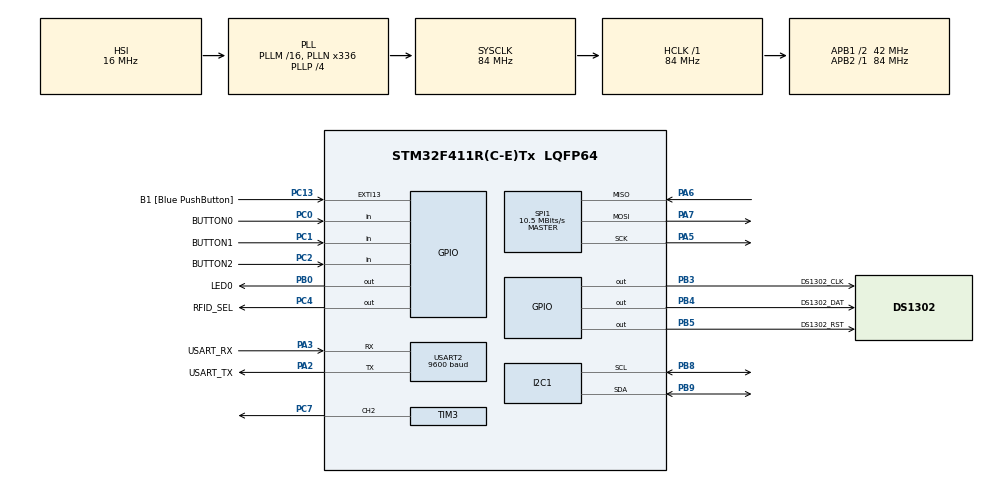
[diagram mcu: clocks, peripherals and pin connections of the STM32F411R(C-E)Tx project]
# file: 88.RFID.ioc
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FREERTOS.Mutexes01=mutex_lcd,Dynamic,NULL
FREERTOS.Tasks01=defaultTask,24,128,StartDefaultTask,Default,NULL,Dynamic,NULL,NULL;RFIDTask,8,128,rfid_processing,Default,NULL,Dynamic,NULL,NULL;ServoMotorTask,8,128,ctrl_servomotor,Default,NULL,Dynamic,NULL,NULL;DS1302Task,8,128,ctrl_DS1302,Default,NULL,Dynamic,NULL,NULL
FREERTOS.configUSE_NEWLIB_REENTRANT=1
Mcu.Family=STM32F4
Mcu.Name=STM32F411R(C-E)Tx
Mcu.Package=LQFP64
NVIC.PriorityGroup=NVIC_PRIORITYGROUP_4
NVIC.SPI1_IRQn=true\:5\:0\:false\:false\:true\:true\:true\:true
NVIC.TIM1_UP_TIM10_IRQn=true\:5\:0\:false\:false\:true\:false\:false\:true
NVIC.TIM2_IRQn=true\:5\:0\:false\:false\:true\:true\:true\:true
NVIC.TIM3_IRQn=true\:5\:0\:false\:false\:true\:true\:true\:true
NVIC.TimeBase=TIM1_UP_TIM10_IRQn
NVIC.TimeBaseIP=TIM10
NVIC.USART2_IRQn=true\:5\:0\:false\:false\:true\:true\:true\:true
PA13.GPIO_Label=TMS
PA13.Mode=Serial_Wire
PA13.Signal=SYS_JTMS-SWDIO
PA14.GPIO_Label=TCK
PA14.Mode=Serial_Wire
PA14.Signal=SYS_JTCK-SWCLK
PA2.GPIO_Label=USART_TX
PA2.Mode=Asynchronous
PA2.Signal=USART2_TX
PA3.GPIO_Label=USART_RX
PA3.Mode=Asynchronous
PA3.Signal=USART2_RX
PA5.Mode=Full_Duplex_Master
PA5.Signal=SPI1_SCK
PA6.Mode=Full_Duplex_Master
PA6.Signal=SPI1_MISO
PA7.Mode=Full_Duplex_Master
PA7.Signal=SPI1_MOSI
PB0.GPIO_Label=LED0
PB0.Signal=GPIO_Output
PB3.GPIO_Label=DS1302_CLK
PB3.Signal=GPIO_Output
PB4.GPIO_Label=DS1302_DAT
PB4.Signal=GPIO_Output
PB5.GPIO_Label=DS1302_RST
PB5.Signal=GPIO_Output
PB8.Mode=I2C
PB8.Signal=I2C1_SCL
PB9.Mode=I2C
PB9.Signal=I2C1_SDA
PC0.GPIO_Label=BUTTON0
PC0.Signal=GPIO_Input
PC1.GPIO_Label=BUTTON1
PC1.Signal=GPIO_Input
PC13-ANTI_TAMP.GPIO_Label=B1 [Blue PushButton]
PC13-ANTI_TAMP.GPIO_ModeDefaultEXTI=GPIO_MODE_IT_FALLING
PC13-ANTI_TAMP.Signal=GPXTI13
PC14-OSC32_IN.Mode=LSE-External-Oscillator
PC14-OSC32_IN.Signal=RCC_OSC32_IN
PC15-OSC32_OUT.Mode=LSE-External-Oscillator
PC15-OSC32_OUT.Signal=RCC_OSC32_OUT
PC2.GPIO_Label=BUTTON2
PC2.Signal=GPIO_Input
PC4.GPIO_Label=RFID_SEL
PC4.Signal=GPIO_Output
PC7.Signal=S_TIM3_CH2
PH0\ -\ OSC_IN.Mode=HSE-External-Clock-Source
PH0\ -\ OSC_IN.Signal=RCC_OSC_IN
PH1\ -\ OSC_OUT.Mode=HSE-External-Clock-Source
PH1\ -\ OSC_OUT.Signal=RCC_OSC_OUT
ProjectManager.HeapSize=0x200
ProjectManager.StackSize=0x400
ProjectManager.TargetToolchain=STM32CubeIDE
RCC.48MHZClocksFreq_Value=84000000
RCC.AHBFreq_Value=84000000
RCC.APB1CLKDivider=RCC_HCLK_DIV2
RCC.APB1Freq_Value=42000000
RCC.APB1TimFreq_Value=84000000
RCC.APB2Freq_Value=84000000
RCC.APB2TimFreq_Value=84000000
RCC.CortexFreq_Value=84000000
RCC.FLatency-AdvancedSettings=FLASH_LATENCY_2
RCC.HCLKFreq_Value=84000000
RCC.HSE_VALUE=8000000
RCC.HSI_VALUE=16000000
RCC.PLLN=336
RCC.PLLP=RCC_PLLP_DIV4
RCC.SYSCLKFreq_VALUE=84000000
RCC.SYSCLKSource=RCC_SYSCLKSOURCE_PLLCLK
RCC.VCOOutputFreq_Value=336000000
SH.S_TIM3_CH2.0=TIM3_CH2,PWM Generation2 CH2
SPI1.BaudRatePrescaler=SPI_BAUDRATEPRESCALER_8
SPI1.CalculateBaudRate=10.5 MBits/s
SPI1.Direction=SPI_DIRECTION_2LINES
SPI1.Mode=SPI_MODE_MASTER
SPI1.VirtualType=VM_MASTER
TIM11.Period=65535
TIM11.Prescaler=84-1
TIM2.Period=1000-1
TIM2.Prescaler=84-1
TIM3.Channel-PWM\ Generation2\ CH2=TIM_CHANNEL_2
TIM3.Period=1000-1
TIM3.Prescaler=1680-1
USART2.BaudRate=9600
USART2.VirtualMode=VM_ASYNC
VP_FREERTOS_VS_CMSIS_V2.Mode=CMSIS_V2
VP_SYS_VS_tim10.Mode=TIM10
VP_TIM11_VS_ClockSourceINT.Mode=Enable_Timer
VP_TIM2_VS_ClockSourceINT.Mode=Internal
VP_TIM3_VS_ClockSourceINT.Mode=Internal
board=NUCLEO-F411RE

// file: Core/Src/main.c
/* USER CODE BEGIN Header */
/**
  ******************************************************************************
  * @file           : main.c
  * @brief          : Main program body
  ******************************************************************************
  * @attention
  *
  * <h2><center>&copy; Copyright (c) 2024 STMicroelectronics.
  * All rights reserved.</center></h2>
  *
  * This software component is licensed by ST under BSD 3-Clause license,
  * the "License"; You may not use this file except in compliance with the
  * License. You may obtain a copy of the License at:
  *                        opensource.org/licenses/BSD-3-Clause
  *
  ******************************************************************************
  */
/* USER CODE END Header */
#include "main.h"
#include "cmsis_os.h"

/* USER CODE BEGIN Includes */
#include "servomotor.h"
#include "DS1302.h"
#include "uart2.h"
/* USER CODE END Includes */

I2C_HandleTypeDef hi2c1;

SPI_HandleTypeDef hspi1;

TIM_HandleTypeDef htim2;
TIM_HandleTypeDef htim3;
TIM_HandleTypeDef htim11;

UART_HandleTypeDef huart2;

/* Definitions for defaultTask */
osThreadId_t defaultTaskHandle;
const osThreadAttr_t defaultTask_attributes = {
  .name = "defaultTask",
  .stack_size = 128 * 4,
  .priority = (osPriority_t) osPriorityNormal,
};
/* Definitions for RFIDTask */
osThreadId_t RFIDTaskHandle;
const osThreadAttr_t RFIDTask_attributes = {
  .name = "RFIDTask",
  .stack_size = 128 * 4,
  .priority = (osPriority_t) osPriorityLow,
};
/* Definitions for ServoMotorTask */
osThreadId_t ServoMotorTaskHandle;
const osThreadAttr_t ServoMotorTask_attributes = {
  .name = "ServoMotorTask",
  .stack_size = 128 * 4,
  .priority = (osPriority_t) osPriorityLow,
};
/* Definitions for DS1302Task */
osThreadId_t DS1302TaskHandle;
const osThreadAttr_t DS1302Task_attributes = {
  .name = "DS1302Task",
  .stack_size = 128 * 4,
  .priority = (osPriority_t) osPriorityLow,
};
/* Definitions for mutex_lcd */
osMutexId_t mutex_lcdHandle;
const osMutexAttr_t mutex_lcd_attributes = {
  .name = "mutex_lcd"
};
/* USER CODE BEGIN PV */
uint8_t rx_data;

volatile int TIM2_1ms_counter=0;
volatile int TIM2_1ms_RFID_LED=0;
volatile int TIM2_300ms_taggingProcess=0;
volatile int TIM2_300ms_counter=0;
volatile int TIM2_opentime_servo_1ms=0;
volatile int TIM2_off_servo_1ms=0;
/* USER CODE END PV */

void SystemClock_Config(void);
static void MX_GPIO_Init(void);
static void MX_USART2_UART_Init(void);
static void MX_TIM11_Init(void);
static void MX_TIM2_Init(void);
static void MX_SPI1_Init(void);
static void MX_TIM3_Init(void);
static void MX_I2C1_Init(void);
void StartDefaultTask(void *argument);
void rfid_processing(void *argument);
void ctrl_servomotor(void *argument);
void ctrl_DS1302(void *argument);

/* USER CODE BEGIN PFP */
extern void led_all_on(void);
extern void led_all_off(void);
extern void led2_toggle(void);
extern void led_on_up();
extern void led_on_down();
extern void ledbar0_toggle(void);
extern void ledbar1_toggle(void);
extern void ledbar2_toggle(void);
extern void led_main(void);
extern void button0_check(void);
extern void delay_us(unsigned int us);
extern void rfid_reader_init(void);
extern void rfid_tag_processing(void);
extern DS1302 stTime;
/* USER CODE END PFP */

/* USER CODE BEGIN 0 */
//-- call by SysTick_Handler of stm32f4xx_it.c
// SysTick_Handler : ARM core default timer
volatile int t1ms_counter=0;

void HAL_SYSTICK_Handler()
{
	t1ms_counter++;   // 1ms timer counter
}
//------------ printf start -----------------------
#ifdef __GNUC__    // Add for printf
/* With GCC, small printf (option LD Linker->Libraries->Small printf
   set to 'Yes') calls __io_putchar() */
#define PUTCHAR_PROTOTYPE int __io_putchar(int ch)
#else
#define PUTCHAR_PROTOTYPE int fputc(int ch, FILE *f)
#endif /* __GNUC__ */
/**
  * @brief  Retargets the C library printf function to the USART.
  * @param  None
  * @retval None
  */
PUTCHAR_PROTOTYPE   // Add for printf
{
  /* Place your implementation of fputc here */
  /* e.g. write a character to the USART2 and Loop until the end of transmission */
  HAL_UART_Transmit(&huart2, (uint8_t *)&ch, 1, 0xFFFF);

  return ch;
}
//-------------------- printf end --------------------
/* USER CODE END 0 */

int main(void)
{

  /* MCU Configuration--------------------------------------------------------*/

  /* Reset of all peripherals, Initializes the Flash interface and the Systick. */
  HAL_Init();

  /* Configure the system clock */
  SystemClock_Config();

  /* Initialize all configured peripherals */
  MX_GPIO_Init();
  MX_USART2_UART_Init();
  MX_TIM11_Init();
  MX_TIM2_Init();
  MX_SPI1_Init();
  MX_TIM3_Init();
  MX_I2C1_Init();
  /* USER CODE BEGIN 2 */
  HAL_UART_Receive_IT(&huart2, &rx_data, 1);   // assign RX INT
  HAL_TIM_Base_Start_IT(&htim2);  // ADD_SIKWON_0523
  HAL_TIM_Base_Start_IT(&htim11);  // ADD_SIKWON_0523
  rfid_reader_init();
  i2c_lcd_init();
  /* USER CODE END 2 */

  /* Init scheduler */
  osKernelInitialize();
  /* Create the mutex(es) */
  /* creation of mutex_lcd */
  mutex_lcdHandle = osMutexNew(&mutex_lcd_attributes);

  /* Create the thread(s) */
  /* creation of defaultTask */
  defaultTaskHandle = osThreadNew(StartDefaultTask, NULL, &defaultTask_attributes);

  /* creation of RFIDTask */
  RFIDTaskHandle = osThreadNew(rfid_processing, NULL, &RFIDTask_attributes);

  /* creation of ServoMotorTask */
  ServoMotorTaskHandle = osThreadNew(ctrl_servomotor, NULL, &ServoMotorTask_attributes);

  /* creation of DS1302Task */
  DS1302TaskHandle = osThreadNew(ctrl_DS1302, NULL, &DS1302Task_attributes);

  /* Start scheduler */
  osKernelStart();

  /* We should never get here as control is now taken by the scheduler */
  /* Infinite loop */
  while (1)
  {

    /* USER CODE BEGIN 3 */
// enter here !!!!!!
  }
  /* USER CODE END 3 */
}

void SystemClock_Config(void)
{
  RCC_OscInitTypeDef RCC_OscInitStruct = {0};
  RCC_ClkInitTypeDef RCC_ClkInitStruct = {0};

  /** Configure the main internal regulator output voltage
  */
  __HAL_RCC_PWR_CLK_ENABLE();
  __HAL_PWR_VOLTAGESCALING_CONFIG(PWR_REGULATOR_VOLTAGE_SCALE1);
  /** Initializes the RCC Oscillators according to the specified parameters
  * in the RCC_OscInitTypeDef structure.
  */
  RCC_OscInitStruct.OscillatorType = RCC_OSCILLATORTYPE_HSI;
  RCC_OscInitStruct.HSIState = RCC_HSI_ON;
  RCC_OscInitStruct.HSICalibrationValue = RCC_HSICALIBRATION_DEFAULT;
  RCC_OscInitStruct.PLL.PLLState = RCC_PLL_ON;
  RCC_OscInitStruct.PLL.PLLSource = RCC_PLLSOURCE_HSI;
  RCC_OscInitStruct.PLL.PLLM = 16;
  RCC_OscInitStruct.PLL.PLLN = 336;
  RCC_OscInitStruct.PLL.PLLP = RCC_PLLP_DIV4;
  RCC_OscInitStruct.PLL.PLLQ = 4;
  if (HAL_RCC_OscConfig(&RCC_OscInitStruct) != HAL_OK)
  {
    Error_Handler();
  }
  /** Initializes the CPU, AHB and APB buses clocks
  */
  RCC_ClkInitStruct.ClockType = RCC_CLOCKTYPE_HCLK|RCC_CLOCKTYPE_SYSCLK
                              |RCC_CLOCKTYPE_PCLK1|RCC_CLOCKTYPE_PCLK2;
  RCC_ClkInitStruct.SYSCLKSource = RCC_SYSCLKSOURCE_PLLCLK;
  RCC_ClkInitStruct.AHBCLKDivider = RCC_SYSCLK_DIV1;
  RCC_ClkInitStruct.APB1CLKDivider = RCC_HCLK_DIV2;
  RCC_ClkInitStruct.APB2CLKDivider = RCC_HCLK_DIV1;

  if (HAL_RCC_ClockConfig(&RCC_ClkInitStruct, FLASH_LATENCY_2) != HAL_OK)
  {
    Error_Handler();
  }
}

static void MX_I2C1_Init(void)
{

  hi2c1.Instance = I2C1;
  hi2c1.Init.ClockSpeed = 100000;
  hi2c1.Init.DutyCycle = I2C_DUTYCYCLE_2;
  hi2c1.Init.OwnAddress1 = 0;
  hi2c1.Init.AddressingMode = I2C_ADDRESSINGMODE_7BIT;
  hi2c1.Init.DualAddressMode = I2C_DUALADDRESS_DISABLE;
  hi2c1.Init.OwnAddress2 = 0;
  hi2c1.Init.GeneralCallMode = I2C_GENERALCALL_DISABLE;
  hi2c1.Init.NoStretchMode = I2C_NOSTRETCH_DISABLE;
  if (HAL_I2C_Init(&hi2c1) != HAL_OK)
  {
    Error_Handler();
  }

}

static void MX_SPI1_Init(void)
{

  /* SPI1 parameter configuration*/
  hspi1.Instance = SPI1;
  hspi1.Init.Mode = SPI_MODE_MASTER;
  hspi1.Init.Direction = SPI_DIRECTION_2LINES;
  hspi1.Init.DataSize = SPI_DATASIZE_8BIT;
  hspi1.Init.CLKPolarity = SPI_POLARITY_LOW;
  hspi1.Init.CLKPhase = SPI_PHASE_1EDGE;
  hspi1.Init.NSS = SPI_NSS_SOFT;
  hspi1.Init.BaudRatePrescaler = SPI_BAUDRATEPRESCALER_8;
  hspi1.Init.FirstBit = SPI_FIRSTBIT_MSB;
  hspi1.Init.TIMode = SPI_TIMODE_DISABLE;
  hspi1.Init.CRCCalculation = SPI_CRCCALCULATION_DISABLE;
  hspi1.Init.CRCPolynomial = 10;
  if (HAL_SPI_Init(&hspi1) != HAL_OK)
  {
    Error_Handler();
  }

}

static void MX_TIM2_Init(void)
{

  TIM_ClockConfigTypeDef sClockSourceConfig = {0};
  TIM_MasterConfigTypeDef sMasterConfig = {0};

  htim2.Instance = TIM2;
  htim2.Init.Prescaler = 84-1;
  htim2.Init.CounterMode = TIM_COUNTERMODE_UP;
  htim2.Init.Period = 1000-1;
  htim2.Init.ClockDivision = TIM_CLOCKDIVISION_DIV1;
  htim2.Init.AutoReloadPreload = TIM_AUTORELOAD_PRELOAD_DISABLE;
  if (HAL_TIM_Base_Init(&htim2) != HAL_OK)
  {
    Error_Handler();
  }
  sClockSourceConfig.ClockSource = TIM_CLOCKSOURCE_INTERNAL;
  if (HAL_TIM_ConfigClockSource(&htim2, &sClockSourceConfig) != HAL_OK)
  {
    Error_Handler();
  }
  sMasterConfig.MasterOutputTrigger = TIM_TRGO_RESET;
  sMasterConfig.MasterSlaveMode = TIM_MASTERSLAVEMODE_DISABLE;
  if (HAL_TIMEx_MasterConfigSynchronization(&htim2, &sMasterConfig) != HAL_OK)
  {
    Error_Handler();
  }

}

static void MX_TIM3_Init(void)
{

  TIM_ClockConfigTypeDef sClockSourceConfig = {0};
  TIM_MasterConfigTypeDef sMasterConfig = {0};
  TIM_OC_InitTypeDef sConfigOC = {0};

  htim3.Instance = TIM3;
  htim3.Init.Prescaler = 1680-1;
  htim3.Init.CounterMode = TIM_COUNTERMODE_UP;
  htim3.Init.Period = 1000-1;
  htim3.Init.ClockDivision = TIM_CLOCKDIVISION_DIV1;
  htim3.Init.AutoReloadPreload = TIM_AUTORELOAD_PRELOAD_DISABLE;
  if (HAL_TIM_Base_Init(&htim3) != HAL_OK)
  {
    Error_Handler();
  }
  sClockSourceConfig.ClockSource = TIM_CLOCKSOURCE_INTERNAL;
  if (HAL_TIM_ConfigClockSource(&htim3, &sClockSourceConfig) != HAL_OK)
  {
    Error_Handler();
  }
  if (HAL_TIM_PWM_Init(&htim3) != HAL_OK)
  {
    Error_Handler();
  }
  sMasterConfig.MasterOutputTrigger = TIM_TRGO_RESET;
  sMasterConfig.MasterSlaveMode = TIM_MASTERSLAVEMODE_DISABLE;
  if (HAL_TIMEx_MasterConfigSynchronization(&htim3, &sMasterConfig) != HAL_OK)
  {
    Error_Handler();
  }
  sConfigOC.OCMode = TIM_OCMODE_PWM1;
  sConfigOC.Pulse = 0;
  sConfigOC.OCPolarity = TIM_OCPOLARITY_HIGH;
  sConfigOC.OCFastMode = TIM_OCFAST_DISABLE;
  if (HAL_TIM_PWM_ConfigChannel(&htim3, &sConfigOC, TIM_CHANNEL_2) != HAL_OK)
  {
    Error_Handler();
  }
  HAL_TIM_MspPostInit(&htim3);

}

static void MX_TIM11_Init(void)
{

  htim11.Instance = TIM11;
  htim11.Init.Prescaler = 84-1;
  htim11.Init.CounterMode = TIM_COUNTERMODE_UP;
  htim11.Init.Period = 65535;
  htim11.Init.ClockDivision = TIM_CLOCKDIVISION_DIV1;
  htim11.Init.AutoReloadPreload = TIM_AUTORELOAD_PRELOAD_DISABLE;
  if (HAL_TIM_Base_Init(&htim11) != HAL_OK)
  {
    Error_Handler();
  }

}

static void MX_USART2_UART_Init(void)
{

  huart2.Instance = USART2;
  huart2.Init.BaudRate = 9600;
  huart2.Init.WordLength = UART_WORDLENGTH_8B;
  huart2.Init.StopBits = UART_STOPBITS_1;
  huart2.Init.Parity = UART_PARITY_NONE;
  huart2.Init.Mode = UART_MODE_TX_RX;
  huart2.Init.HwFlowCtl = UART_HWCONTROL_NONE;
  huart2.Init.OverSampling = UART_OVERSAMPLING_16;
  if (HAL_UART_Init(&huart2) != HAL_OK)
  {
    Error_Handler();
  }

}

static void MX_GPIO_Init(void)
{
  GPIO_InitTypeDef GPIO_InitStruct = {0};

  /* GPIO Ports Clock Enable */
  __HAL_RCC_GPIOC_CLK_ENABLE();
  __HAL_RCC_GPIOH_CLK_ENABLE();
  __HAL_RCC_GPIOA_CLK_ENABLE();
  __HAL_RCC_GPIOB_CLK_ENABLE();

  /*Configure GPIO pin Output Level */
  HAL_GPIO_WritePin(RFID_SEL_GPIO_Port, RFID_SEL_Pin, GPIO_PIN_RESET);

  /*Configure GPIO pin Output Level */
  HAL_GPIO_WritePin(GPIOB, LED0_Pin|DS1302_CLK_Pin|DS1302_DAT_Pin|DS1302_RST_Pin, GPIO_PIN_RESET);

  /*Configure GPIO pin : B1_Pin */
  GPIO_InitStruct.Pin = B1_Pin;
  GPIO_InitStruct.Mode = GPIO_MODE_IT_FALLING;
  GPIO_InitStruct.Pull = GPIO_NOPULL;
  HAL_GPIO_Init(B1_GPIO_Port, &GPIO_InitStruct);

  /*Configure GPIO pins : BUTTON0_Pin BUTTON1_Pin BUTTON2_Pin */
  GPIO_InitStruct.Pin = BUTTON0_Pin|BUTTON1_Pin|BUTTON2_Pin;
  GPIO_InitStruct.Mode = GPIO_MODE_INPUT;
  GPIO_InitStruct.Pull = GPIO_NOPULL;
  HAL_GPIO_Init(GPIOC, &GPIO_InitStruct);

  /*Configure GPIO pin : RFID_SEL_Pin */
  GPIO_InitStruct.Pin = RFID_SEL_Pin;
  GPIO_InitStruct.Mode = GPIO_MODE_OUTPUT_PP;
  GPIO_InitStruct.Pull = GPIO_NOPULL;
  GPIO_InitStruct.Speed = GPIO_SPEED_FREQ_LOW;
  HAL_GPIO_Init(RFID_SEL_GPIO_Port, &GPIO_InitStruct);

  /*Configure GPIO pins : LED0_Pin DS1302_CLK_Pin DS1302_DAT_Pin DS1302_RST_Pin */
  GPIO_InitStruct.Pin = LED0_Pin|DS1302_CLK_Pin|DS1302_DAT_Pin|DS1302_RST_Pin;
  GPIO_InitStruct.Mode = GPIO_MODE_OUTPUT_PP;
  GPIO_InitStruct.Pull = GPIO_NOPULL;
  GPIO_InitStruct.Speed = GPIO_SPEED_FREQ_LOW;
  HAL_GPIO_Init(GPIOB, &GPIO_InitStruct);

}

void StartDefaultTask(void *argument)
{
  /* USER CODE BEGIN 5 */
  /* Infinite loop */
  for(;;)  // while(1)
  {
	  ctrl_btn_RFID_status();
	  if(osMutexWait(mutex_lcdHandle,1000) == osOK){
		  pc_command_processing();
		  osMutexRelease(mutex_lcdHandle); //unlock
	  }
    osDelay(1);
  }
  /* USER CODE END 5 */
}

void rfid_processing(void *argument)
{
  /* USER CODE BEGIN rfid_processing */
  /* Infinite loop */
  for(;;)
  {
	rfid_tag_processing();
	 if(osMutexWait(mutex_lcdHandle,1000) == osOK){
		printLCD_RFID_status();
		osMutexRelease(mutex_lcdHandle); //unlock
	 }
    osDelay(1);
  }
  /* USER CODE END rfid_processing */
}

void ctrl_servomotor(void *argument)
{
  /* USER CODE BEGIN ctrl_servomotor */
	init_servo_LOCKED();
  /* Infinite loop */
  for(;;)
  {
	servo_motor_main();
    osDelay(1);
  }
  /* USER CODE END ctrl_servomotor */
}

void ctrl_DS1302(void *argument)
{
  /* USER CODE BEGIN ctrl_DS1302 */
	DS1302_Init();
	DS1302_InitData();
  /* Infinite loop */
  for(;;)
  {
	  if(osMutexWait(mutex_lcdHandle,1000) == osOK){
		  DS1302_GetDate(&stTime);
		  DS1302_GetTime(&stTime);
		  printLCD_DS1302_data(&stTime);
		  osMutexRelease(mutex_lcdHandle); //unlock
	  }

    osDelay(1);
  }
  /* USER CODE END ctrl_DS1302 */
}

void HAL_TIM_PeriodElapsedCallback(TIM_HandleTypeDef *htim)
{
  if (htim->Instance == TIM10) {
    HAL_IncTick();
  }
  /* USER CODE BEGIN Callback 1 */
	if (htim->Instance == TIM2)
	{
		TIM2_1ms_counter++;
		TIM2_1ms_RFID_LED++;
		TIM2_opentime_servo_1ms++;
		TIM2_off_servo_1ms++;
		TIM2_300ms_counter++;
		TIM2_300ms_taggingProcess++;
	}
  /* USER CODE END Callback 1 */
}

void Error_Handler(void)
{
  __disable_irq();
  while (1)
  {
  }
}

/************************ (C) COPYRIGHT STMicroelectronics *****END OF FILE****/
